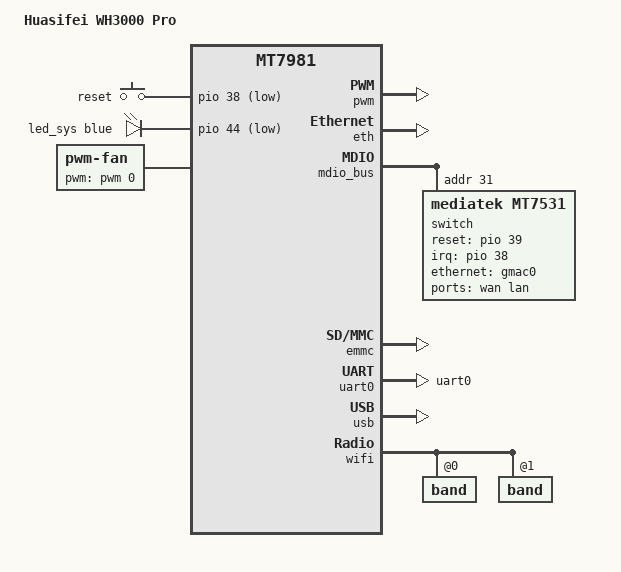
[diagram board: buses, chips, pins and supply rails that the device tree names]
// SPDX-License-Identifier: GPL-2.0
/dts-v1/;
#include <dt-bindings/gpio/gpio.h>
#include <dt-bindings/input/input.h>
#include <dt-bindings/leds/common.h>

#include "mt7981b.dtsi"

/ {
	model = "Huasifei WH3000 Pro";
	compatible = "huasifei,wh3000-pro", "mediatek,mt7981";

	aliases {
		serial0 = &uart0;
		label-mac-device = &lan;

		led-boot = &led_sys;
		led-failsafe = &led_sys;
		led-running = &led_sys;
		led-upgrade = &led_sys;
	};

	chosen {
		stdout-path = "serial0:115200n8";
	};

	gpio-keys {
		compatible = "gpio-keys";

		reset {
			label = "reset";
			gpios = <&pio 38 GPIO_ACTIVE_LOW>;
			linux,code = <KEY_RESTART>;
			debounce-interval = <60>;
		};
	};

	leds {
		compatible = "gpio-leds";

		led_sys: led-sys {
			color = <LED_COLOR_ID_BLUE>;
			function = LED_FUNCTION_STATUS;
			gpios = <&pio 44 GPIO_ACTIVE_LOW>;
		};
	};

	fan {
		compatible = "pwm-fan";
		pwms = <&pwm 0 25000 0>;
		cooling-levels = <0 64 128 255>;
	};
};

&pwm {
	status = "okay";
};

&eth {
	status = "okay";

	gmac0: mac@0 {
		compatible = "mediatek,eth-mac";
		reg = <0>;
		phy-mode = "2500base-x";

		nvmem-cell-names = "mac-address";
		nvmem-cells = <&macaddr_factory_4>;

		fixed-link {
			speed = <2500>;
			full-duplex;
			pause;
		};
	};
};

&mdio_bus {
	switch: switch@1f {
		compatible = "mediatek,mt7531";
		reg = <0x1f>;
		reset-gpios = <&pio 39 GPIO_ACTIVE_HIGH>;
		interrupt-controller;
		#interrupt-cells = <1>;
		interrupt-parent = <&pio>;
		interrupts = <38 IRQ_TYPE_LEVEL_HIGH>;
	};
};

&emmc {
	status = "okay";

	partitions {
		compatible = "fixed-partitions";
		#address-cells = <1>;
		#size-cells = <1>;

		partition@0 {
			label = "boot_preloader";
			reg = <0x0 0x80000>;
			read-only;
		};

		partition@80000 {
			label = "boot";
			reg = <0x80000 0x180000>;
			read-only;
		};

		partition@200000 {
			label = "u-boot-env";
			reg = <0x200000 0x80000>;
		};

		partition@280000 {
			label = "Factory";
			reg = <0x280000 0x200000>;
			read-only;

			nvmem-layout {
				compatible = "fixed-layout";
				#address-cells = <1>;
				#size-cells = <1>;

				eeprom_factory_0: eeprom@0 {
					reg = <0x0 0x1000>;
				};

				macaddr_factory_4: macaddr@4 {
					compatible = "mac-base";
					reg = <0x4 0x6>;
					#nvmem-cell-cells = <1>;
				};
			};
		};

		partition@480000 {
			label = "fip";
			reg = <0x480000 0x200000>;
			read-only;
		};

		partition@680000 {
			label = "rootfs";
			reg = <0x680000 0x77800000>;
		};
	};
};

&switch {
	ports {
		#address-cells = <1>;
		#size-cells = <0>;

		wan: port@0 {
			reg = <0>;
			label = "wan";
			nvmem-cell-names = "mac-address";
			nvmem-cells = <&macaddr_factory_4 1>;
		};

		lan: port@1 {
			reg = <1>;
			label = "lan";
			nvmem-cell-names = "mac-address";
			nvmem-cells = <&macaddr_factory_4 3>;
		};

		port@6 {
			reg = <6>;
			ethernet = <&gmac0>;
			phy-mode = "2500base-x";
			fixed-link {
				speed = <2500>;
				full-duplex;
				pause;
			};
		};
	};
};

&pio {
	uart0_pins: uart0-pins {
		mux {
			function = "uart";
			groups = "uart0";
		};
	};
};

&uart0 {
	pinctrl-names = "default";
	pinctrl-0 = <&uart0_pins>;
	status = "okay";
};

&usb {
	status = "okay";
};

&wifi {
	status = "okay";
	nvmem-cell-names = "eeprom";
	nvmem-cells = <&eeprom_factory_0>;

	band@0 {
		reg = <0>;
		nvmem-cell-names = "mac-address";
		nvmem-cells = <&macaddr_factory_4 0>;
	};

	band@1 {
		reg = <1>;
		nvmem-cell-names = "mac-address";
		nvmem-cells = <&macaddr_factory_4 2>;
	};
};
